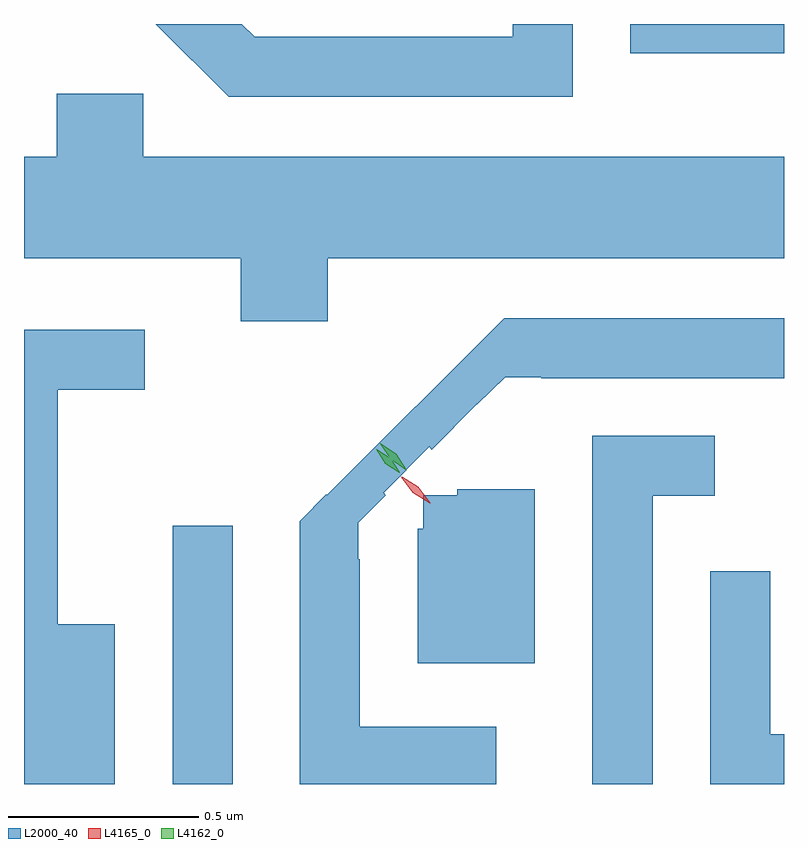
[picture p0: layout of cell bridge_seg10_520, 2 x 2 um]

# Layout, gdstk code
import gdstk
lib = gdstk.Library(unit=1e-6, precision=1e-09)
def R(c, l, rs):  # rectangles x0, y0, x1, y1
    for r in rs: c.add(gdstk.rectangle(r[:2], r[2:], *l))
def P(c, l, *ps):  # polygons
    for p in ps: c.add(gdstk.Polygon(p, *l))
L2000_40 = (2000, 40)
L4162_0 = (4162, 0)
L4165_0 = (4165, 0)

bridge_seg10_520 = lib.new_cell('bridge_seg10_520')
R(bridge_seg10_520, L2000_40, [(846.966,2190.233,847.124,2190.913), (848.171,2192.156,848.575,2192.233)])
P(bridge_seg10_520, L2000_40, [(848.019,2192.233),(847.861,2192.233),(847.861,2192.199),(847.182,2192.199),(847.148,2192.233),(846.922,2192.233),(847.114,2192.041),(848.019,2192.041)],
  [(847.374,2191.616),(848.575,2191.616),(848.575,2191.884),(846.889,2191.884),(846.889,2192.049),(846.661,2192.049),(846.661,2191.884),(846.575,2191.884),(846.575,2191.616),(847.146,2191.616),(847.146,2191.451),(847.374,2191.451)],
  [(847.818,2190.384),(847.459,2190.384),(847.459,2190.824),(847.455,2190.824),(847.455,2190.921),(847.527,2190.993),(847.522,2190.999),(847.642,2191.12),(847.648,2191.113),(847.767,2191.232),(847.768,2191.232),(847.841,2191.304),(847.936,2191.304),(847.936,2191.301),(848.575,2191.301),(848.575,2191.459),(847.839,2191.459),(847.373,2190.994),(847.371,2190.995),(847.301,2190.925),(847.301,2190.233),(847.818,2190.233)],
  [(846.814,2190.654),(846.664,2190.654),(846.664,2191.271),(846.893,2191.271),(846.893,2191.429),(846.575,2191.429),(846.575,2190.233),(846.814,2190.233)],
  [(848.229,2190.991),(848.393,2190.991),(848.393,2191.149),(848.071,2191.149),(848.071,2190.233),(848.229,2190.233)],
  [(847.919,2191.009),(847.715,2191.009),(847.715,2190.993),(847.625,2190.993),(847.625,2190.905),(847.611,2190.905),(847.611,2190.551),(847.919,2190.551)],
  [(848.575,2190.364),(848.539,2190.364),(848.539,2190.793),(848.381,2190.793),(848.381,2190.233),(848.575,2190.233)])
P(bridge_seg10_520, L4162_0, [(847.581,2191.059),(847.54,2191.087),(847.512,2191.129),(847.512,2191.13),(847.512,2191.13),(847.554,2191.102),(847.582,2191.059),(847.582,2191.059)],
  [(847.563,2191.052),(847.526,2191.076),(847.502,2191.114),(847.502,2191.114),(847.503,2191.114),(847.54,2191.09),(847.564,2191.053),(847.564,2191.052)])
P(bridge_seg10_520, L4165_0, [(847.643,2190.972),(847.598,2191),(847.566,2191.042),(847.566,2191.042),(847.567,2191.042),(847.612,2191.015),(847.644,2190.973),(847.644,2190.972)],
  [(847.641,2190.974),(847.599,2191),(847.57,2191.04),(847.57,2191.041),(847.571,2191.041),(847.613,2191.015),(847.642,2190.975),(847.642,2190.974)])

lib.write_gds('bridge_seg10_520.gds')
